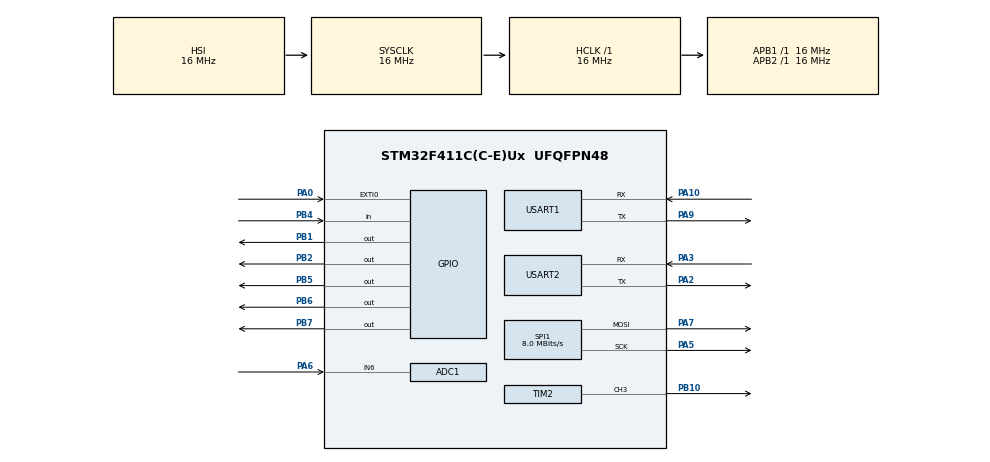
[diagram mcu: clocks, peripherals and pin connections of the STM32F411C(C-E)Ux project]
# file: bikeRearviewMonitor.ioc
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ADC1.Channel-0\#ChannelRegularConversion=ADC_CHANNEL_6
ADC1.ContinuousConvMode=ENABLE
ADC1.NbrOfConversionFlag=1
ADC1.Rank-0\#ChannelRegularConversion=1
ADC1.Resolution=ADC_RESOLUTION_8B
ADC1.SamplingTime-0\#ChannelRegularConversion=ADC_SAMPLETIME_3CYCLES
ADC1.master=1
Mcu.Family=STM32F4
Mcu.Name=STM32F411C(C-E)Ux
Mcu.Package=UFQFPN48
NVIC.EXTI0_IRQn=true\:1\:0\:true\:false\:true\:true\:true
NVIC.PriorityGroup=NVIC_PRIORITYGROUP_4
NVIC.USART2_IRQn=true\:0\:0\:false\:false\:true\:true\:true
PA0-WKUP.GPIO_ModeDefaultEXTI=GPIO_MODE_IT_FALLING
PA0-WKUP.Signal=GPXTI0
PA10.Mode=Asynchronous
PA10.Signal=USART1_RX
PA2.Mode=Asynchronous
PA2.Signal=USART2_TX
PA3.Mode=Asynchronous
PA3.Signal=USART2_RX
PA5.Mode=TX_Only_Simplex_Unidirect_Master
PA5.Signal=SPI1_SCK
PA6.Signal=ADCx_IN6
PA7.Mode=TX_Only_Simplex_Unidirect_Master
PA7.Signal=SPI1_MOSI
PA9.Mode=Asynchronous
PA9.Signal=USART1_TX
PB1.GPIO_PuPd=GPIO_PULLUP
PB1.Signal=GPIO_Output
PB10.Signal=S_TIM2_CH3
PB2.GPIO_PuPd=GPIO_PULLUP
PB2.Signal=GPIO_Output
PB4.Signal=GPIO_Input
PB5.Signal=GPIO_Output
PB6.Signal=GPIO_Output
PB7.Signal=GPIO_Output
ProjectManager.HeapSize=0x200
ProjectManager.StackSize=0x400
ProjectManager.TargetToolchain=STM32CubeIDE
RCC.AHBFreq_Value=16000000
RCC.APB1Freq_Value=16000000
RCC.APB2Freq_Value=16000000
RCC.CortexFreq_Value=16000000
RCC.HSE_VALUE=25000000
RCC.HSI_VALUE=16000000
RCC.LSE_VALUE=32768
RCC.SYSCLKFreq_VALUE=16000000
RCC.VCOOutputFreq_Value=192000000
SH.ADCx_IN6.0=ADC1_IN6,IN6
SH.S_TIM2_CH3.0=TIM2_CH3,PWM Generation3 CH3
SPI1.BaudRatePrescaler=SPI_BAUDRATEPRESCALER_2
SPI1.CalculateBaudRate=8.0 MBits/s
SPI1.Direction=SPI_DIRECTION_2LINES
SPI1.Mode=SPI_MODE_MASTER
SPI1.VirtualType=VM_MASTER
TIM2.AutoReloadPreload=TIM_AUTORELOAD_PRELOAD_ENABLE
TIM2.Channel-PWM\ Generation3\ CH3=TIM_CHANNEL_3
TIM2.Period=100-1
TIM2.Prescaler=160-1
USART1.VirtualMode=VM_ASYNC
USART2.VirtualMode=VM_ASYNC
VP_TIM2_VS_ClockSourceINT.Mode=Internal
board=custom

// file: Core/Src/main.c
/* USER CODE BEGIN Header */
/**
  ******************************************************************************
  * @file           : main.c
  * @brief          : Main program body
  ******************************************************************************
  * @attention
  *
  * <h2><center>&copy; Copyright (c) 2022 STMicroelectronics.
  * All rights reserved.</center></h2>
  *
  * This software component is licensed by ST under BSD 3-Clause license,
  * the "License"; You may not use this file except in compliance with the
  * License. You may obtain a copy of the License at:
  *                        opensource.org/licenses/BSD-3-Clause
  *
  ******************************************************************************
  */
/* USER CODE END Header */
#include "main.h"

/* USER CODE BEGIN Includes */
#include <stdio.h>
#include "decoder.h"
#include "bleinit.h"
#include "battery.h"
#include "TFT_control.h"
/* USER CODE END Includes */

ADC_HandleTypeDef hadc1;

SPI_HandleTypeDef hspi1;

TIM_HandleTypeDef htim2;

UART_HandleTypeDef huart1;
UART_HandleTypeDef huart2;

/* USER CODE BEGIN PV */

extern int BLE_state;

/* USER CODE END PV */

void SystemClock_Config(void);
static void MX_GPIO_Init(void);
static void MX_USART1_UART_Init(void);
static void MX_USART2_UART_Init(void);
static void MX_ADC1_Init(void);
static void MX_TIM2_Init(void);
static void MX_SPI1_Init(void);

/* USER CODE BEGIN 0 */

// Serial output for Debug @ HUART1
#ifdef __GNUC__
#define PUTCHAR_PROTOTYPE int __io_putchar(int ch)
#else
#define PUTCHAR_PROTOTYPE int fputc(int ch, FILE *f)
#endif

char strtmp[30];

PUTCHAR_PROTOTYPE {
	HAL_UART_Transmit((UART_HandleTypeDef *)&huart1, (uint8_t*)&ch, 1, 0xFFFF);
	return ch;
}

unsigned char UART2RxBuf[1024] = {0};
unsigned char UART2RxFlg       = 0;
unsigned int  UART2RxCnt       = 0;
unsigned char UART2Rxtmp[1]    = {0};
unsigned char UART2RxUklRdFlg  = 0;

void HAL_UART_RxCpltCallback(UART_HandleTypeDef *huart) {
	if ((huart->Instance == USART2) && UART2RxUklRdFlg) {
		if (!(UART2Rxtmp[0]^0x0A) || !(UART2Rxtmp[0]^0x0D)) {
			if (UART2RxCnt) {UART2RxFlg = 1;} return;
		} if (UART2RxCnt < 1024) UART2RxBuf[UART2RxCnt ++] = UART2Rxtmp[0];
		else {UART2RxFlg = 1; printf("[UART2IT] buffer overflow\r\n"); return;}
		HAL_UART_Receive_IT(&huart2, (uint8_t *)UART2Rxtmp, 1);
	}
}

void HAL_GPIO_EXTI_Callback(uint16_t GPIO_Pin) {
//	if(GPIO_Pin == GPIO_PIN_0) {
//		if (!HAL_GPIO_ReadPin(GPIOA, GPIO_PIN_0)) {
//			HAL_Delay(20);
//			if (!HAL_GPIO_ReadPin(GPIOA, GPIO_PIN_0)) {
//				Cnange_TFT_Backlight();
//				while (!HAL_GPIO_ReadPin(GPIOA, GPIO_PIN_0));
//			}
//		}
//	}
}

void UART2_Clear() {
	for (int i=0; i < UART2RxCnt; ++ i) UART2RxBuf[i] = 0;
	UART2RxFlg = UART2RxCnt = UART2RxUklRdFlg = 0;
}

#define UART2RxUklRd(); {UART2RxUklRdFlg = 1; HAL_UART_Receive_IT(&huart2, (uint8_t *)UART2Rxtmp, 1);}
#define TIME_TO_PRINT ((int)HAL_GetTick())

//#define TFTPWMTEST

//void UART2RxUklRd() {
//	UART2RxUklRdFlg = 1;
//	HAL_UART_Receive_IT(&huart2, (uint8_t *)UART2Rxtmp, 1);
//}

/* USER CODE END 0 */

int main(void)
{

  /* MCU Configuration--------------------------------------------------------*/

  /* Reset of all peripherals, Initializes the Flash interface and the Systick. */
  HAL_Init();

  /* Configure the system clock */
  SystemClock_Config();

  /* Initialize all configured peripherals */
  MX_GPIO_Init();
  MX_USART1_UART_Init();
  MX_USART2_UART_Init();
  MX_ADC1_Init();
  MX_TIM2_Init();
  MX_SPI1_Init();
  /* USER CODE BEGIN 2 */

  UART2RxUklRdFlg = 0;
  ADC_Calibration();
  //TFT_ReStart();
  TFT_INIT();

  /* USER CODE END 2 */

  /* Infinite loop */
  /* USER CODE BEGIN WHILE */

  HAL_TIM_PWM_Start(&htim2, TIM_CHANNEL_3);
  Set_TFT_Backlight_PWM(100);

  Read_Battery_Life();
  printf("[%d]%s\r\n", TIME_TO_PRINT, UART2RxBuf);

  while (BLE_state^ALL_GREEN) BLE_INIT();
  printf("[BLEINIT] SUCCESS.\r\n");

  HAL_GPIO_WritePin(GPIOB, GPIO_PIN_2, GPIO_PIN_SET);
  HAL_GPIO_WritePin(GPIOB, GPIO_PIN_1, GPIO_PIN_SET);

#ifdef TFTPWMTEST
  int PWM_TEST_STA = 0;
  int PWM_UP_OR_DN = 1;
  int PWM_UP_CNTER = 0;
#endif

  Draw_Circle(190, 300, 30, GBLUE);
  sprintf(strtmp, "%d", 11);
  LCD_ShowString(190-6, 300-6, (const u8*) strtmp, WHITE, WHITE, 12, 1);

  Draw_Circle(263, 299, 30, GBLUE);
  sprintf(strtmp, "%d", 11);
  LCD_ShowString(263-6, 300-6, (const u8*) strtmp, WHITE, WHITE, 12, 1);

  //UART2RxUklRd();
  while (1)
  {

	  if (HAL_GPIO_ReadPin(GPIOB, GPIO_PIN_4) == 0) {
		  TFT_INIT(); LCD_Fill(0,0,LCD_W,LCD_H,BLACK);
	  }

#ifdef TFTPWMTEST
	  if (++ PWM_UP_CNTER >= 10) {
		  switch(PWM_UP_OR_DN) {
		  case 1:
			  if (PWM_TEST_STA < 100) Set_TFT_Backlight_PWM((uint8_t)PWM_TEST_STA ++);
			  else PWM_UP_OR_DN = 0;
			  break;
		  case 0:
			  if (PWM_TEST_STA) Set_TFT_Backlight_PWM((uint8_t)PWM_TEST_STA --);
			  else PWM_UP_OR_DN = 1;
			  break;
		  default:
			  break;
		  } PWM_UP_CNTER = 0;
	  } HAL_Delay(0);
	  //printf("[PWMTEST] PWM: %d\r\n", PWM_TEST_STA);
#endif

	  UART2RxUklRd();
	  //TFT_DrawRect(50, 100, 50, 100, 0x001F);
	  if (UART2RxFlg) {
		  printf("[%d]%s\r\n", TIME_TO_PRINT, UART2RxBuf);
		  dispose(UART2RxBuf);
		  decoderDebugOutput();
		  situDraw();
		  UART2_Clear();
		  //Read_Battery_Life();
	  }

	  // PWM test

    /* USER CODE END WHILE */

  }
}

void SystemClock_Config(void)
{
  RCC_OscInitTypeDef RCC_OscInitStruct = {0};
  RCC_ClkInitTypeDef RCC_ClkInitStruct = {0};

  /** Configure the main internal regulator output voltage
  */
  __HAL_RCC_PWR_CLK_ENABLE();
  __HAL_PWR_VOLTAGESCALING_CONFIG(PWR_REGULATOR_VOLTAGE_SCALE1);
  /** Initializes the RCC Oscillators according to the specified parameters
  * in the RCC_OscInitTypeDef structure.
  */
  RCC_OscInitStruct.OscillatorType = RCC_OSCILLATORTYPE_HSI;
  RCC_OscInitStruct.HSIState = RCC_HSI_ON;
  RCC_OscInitStruct.HSICalibrationValue = RCC_HSICALIBRATION_DEFAULT;
  RCC_OscInitStruct.PLL.PLLState = RCC_PLL_NONE;
  if (HAL_RCC_OscConfig(&RCC_OscInitStruct) != HAL_OK)
  {
    Error_Handler();
  }
  /** Initializes the CPU, AHB and APB buses clocks
  */
  RCC_ClkInitStruct.ClockType = RCC_CLOCKTYPE_HCLK|RCC_CLOCKTYPE_SYSCLK
                              |RCC_CLOCKTYPE_PCLK1|RCC_CLOCKTYPE_PCLK2;
  RCC_ClkInitStruct.SYSCLKSource = RCC_SYSCLKSOURCE_HSI;
  RCC_ClkInitStruct.AHBCLKDivider = RCC_SYSCLK_DIV1;
  RCC_ClkInitStruct.APB1CLKDivider = RCC_HCLK_DIV1;
  RCC_ClkInitStruct.APB2CLKDivider = RCC_HCLK_DIV1;

  if (HAL_RCC_ClockConfig(&RCC_ClkInitStruct, FLASH_LATENCY_0) != HAL_OK)
  {
    Error_Handler();
  }
}

static void MX_ADC1_Init(void)
{

  ADC_ChannelConfTypeDef sConfig = {0};

  /** Configure the global features of the ADC (Clock, Resolution, Data Alignment and number of conversion)
  */
  hadc1.Instance = ADC1;
  hadc1.Init.ClockPrescaler = ADC_CLOCK_SYNC_PCLK_DIV2;
  hadc1.Init.Resolution = ADC_RESOLUTION_8B;
  hadc1.Init.ScanConvMode = DISABLE;
  hadc1.Init.ContinuousConvMode = ENABLE;
  hadc1.Init.DiscontinuousConvMode = DISABLE;
  hadc1.Init.ExternalTrigConvEdge = ADC_EXTERNALTRIGCONVEDGE_NONE;
  hadc1.Init.ExternalTrigConv = ADC_SOFTWARE_START;
  hadc1.Init.DataAlign = ADC_DATAALIGN_RIGHT;
  hadc1.Init.NbrOfConversion = 1;
  hadc1.Init.DMAContinuousRequests = DISABLE;
  hadc1.Init.EOCSelection = ADC_EOC_SINGLE_CONV;
  if (HAL_ADC_Init(&hadc1) != HAL_OK)
  {
    Error_Handler();
  }
  /** Configure for the selected ADC regular channel its corresponding rank in the sequencer and its sample time.
  */
  sConfig.Channel = ADC_CHANNEL_6;
  sConfig.Rank = 1;
  sConfig.SamplingTime = ADC_SAMPLETIME_3CYCLES;
  if (HAL_ADC_ConfigChannel(&hadc1, &sConfig) != HAL_OK)
  {
    Error_Handler();
  }

}

static void MX_SPI1_Init(void)
{

  /* SPI1 parameter configuration*/
  hspi1.Instance = SPI1;
  hspi1.Init.Mode = SPI_MODE_MASTER;
  hspi1.Init.Direction = SPI_DIRECTION_2LINES;
  hspi1.Init.DataSize = SPI_DATASIZE_8BIT;
  hspi1.Init.CLKPolarity = SPI_POLARITY_LOW;
  hspi1.Init.CLKPhase = SPI_PHASE_1EDGE;
  hspi1.Init.NSS = SPI_NSS_SOFT;
  hspi1.Init.BaudRatePrescaler = SPI_BAUDRATEPRESCALER_2;
  hspi1.Init.FirstBit = SPI_FIRSTBIT_MSB;
  hspi1.Init.TIMode = SPI_TIMODE_DISABLE;
  hspi1.Init.CRCCalculation = SPI_CRCCALCULATION_DISABLE;
  hspi1.Init.CRCPolynomial = 10;
  if (HAL_SPI_Init(&hspi1) != HAL_OK)
  {
    Error_Handler();
  }

}

static void MX_TIM2_Init(void)
{

  TIM_ClockConfigTypeDef sClockSourceConfig = {0};
  TIM_MasterConfigTypeDef sMasterConfig = {0};
  TIM_OC_InitTypeDef sConfigOC = {0};

  htim2.Instance = TIM2;
  htim2.Init.Prescaler = 160-1;
  htim2.Init.CounterMode = TIM_COUNTERMODE_UP;
  htim2.Init.Period = 100-1;
  htim2.Init.ClockDivision = TIM_CLOCKDIVISION_DIV1;
  htim2.Init.AutoReloadPreload = TIM_AUTORELOAD_PRELOAD_ENABLE;
  if (HAL_TIM_Base_Init(&htim2) != HAL_OK)
  {
    Error_Handler();
  }
  sClockSourceConfig.ClockSource = TIM_CLOCKSOURCE_INTERNAL;
  if (HAL_TIM_ConfigClockSource(&htim2, &sClockSourceConfig) != HAL_OK)
  {
    Error_Handler();
  }
  if (HAL_TIM_PWM_Init(&htim2) != HAL_OK)
  {
    Error_Handler();
  }
  sMasterConfig.MasterOutputTrigger = TIM_TRGO_RESET;
  sMasterConfig.MasterSlaveMode = TIM_MASTERSLAVEMODE_DISABLE;
  if (HAL_TIMEx_MasterConfigSynchronization(&htim2, &sMasterConfig) != HAL_OK)
  {
    Error_Handler();
  }
  sConfigOC.OCMode = TIM_OCMODE_PWM1;
  sConfigOC.Pulse = 0;
  sConfigOC.OCPolarity = TIM_OCPOLARITY_HIGH;
  sConfigOC.OCFastMode = TIM_OCFAST_DISABLE;
  if (HAL_TIM_PWM_ConfigChannel(&htim2, &sConfigOC, TIM_CHANNEL_3) != HAL_OK)
  {
    Error_Handler();
  }
  HAL_TIM_MspPostInit(&htim2);

}

static void MX_USART1_UART_Init(void)
{

  huart1.Instance = USART1;
  huart1.Init.BaudRate = 115200;
  huart1.Init.WordLength = UART_WORDLENGTH_8B;
  huart1.Init.StopBits = UART_STOPBITS_1;
  huart1.Init.Parity = UART_PARITY_NONE;
  huart1.Init.Mode = UART_MODE_TX_RX;
  huart1.Init.HwFlowCtl = UART_HWCONTROL_NONE;
  huart1.Init.OverSampling = UART_OVERSAMPLING_16;
  if (HAL_UART_Init(&huart1) != HAL_OK)
  {
    Error_Handler();
  }
  /* USER CODE BEGIN USART1_Init 2 */

  printf("USART1 INIT succ.\r\n");

  /* USER CODE END USART1_Init 2 */

}

static void MX_USART2_UART_Init(void)
{

  huart2.Instance = USART2;
  huart2.Init.BaudRate = 115200;
  huart2.Init.WordLength = UART_WORDLENGTH_8B;
  huart2.Init.StopBits = UART_STOPBITS_1;
  huart2.Init.Parity = UART_PARITY_NONE;
  huart2.Init.Mode = UART_MODE_TX_RX;
  huart2.Init.HwFlowCtl = UART_HWCONTROL_NONE;
  huart2.Init.OverSampling = UART_OVERSAMPLING_16;
  if (HAL_UART_Init(&huart2) != HAL_OK)
  {
    Error_Handler();
  }

}

static void MX_GPIO_Init(void)
{
  GPIO_InitTypeDef GPIO_InitStruct = {0};

  /* GPIO Ports Clock Enable */
  __HAL_RCC_GPIOA_CLK_ENABLE();
  __HAL_RCC_GPIOB_CLK_ENABLE();

  /*Configure GPIO pin Output Level */
  HAL_GPIO_WritePin(GPIOB, GPIO_PIN_1|GPIO_PIN_2|GPIO_PIN_5|GPIO_PIN_6
                          |GPIO_PIN_7, GPIO_PIN_RESET);

  /*Configure GPIO pin : PA0 */
  GPIO_InitStruct.Pin = GPIO_PIN_0;
  GPIO_InitStruct.Mode = GPIO_MODE_IT_FALLING;
  GPIO_InitStruct.Pull = GPIO_NOPULL;
  HAL_GPIO_Init(GPIOA, &GPIO_InitStruct);

  /*Configure GPIO pins : PB1 PB2 */
  GPIO_InitStruct.Pin = GPIO_PIN_1|GPIO_PIN_2;
  GPIO_InitStruct.Mode = GPIO_MODE_OUTPUT_PP;
  GPIO_InitStruct.Pull = GPIO_PULLUP;
  GPIO_InitStruct.Speed = GPIO_SPEED_FREQ_LOW;
  HAL_GPIO_Init(GPIOB, &GPIO_InitStruct);

  /*Configure GPIO pin : PB4 */
  GPIO_InitStruct.Pin = GPIO_PIN_4;
  GPIO_InitStruct.Mode = GPIO_MODE_INPUT;
  GPIO_InitStruct.Pull = GPIO_NOPULL;
  HAL_GPIO_Init(GPIOB, &GPIO_InitStruct);

  /*Configure GPIO pins : PB5 PB6 PB7 */
  GPIO_InitStruct.Pin = GPIO_PIN_5|GPIO_PIN_6|GPIO_PIN_7;
  GPIO_InitStruct.Mode = GPIO_MODE_OUTPUT_PP;
  GPIO_InitStruct.Pull = GPIO_NOPULL;
  GPIO_InitStruct.Speed = GPIO_SPEED_FREQ_LOW;
  HAL_GPIO_Init(GPIOB, &GPIO_InitStruct);

  /* EXTI interrupt init*/
  HAL_NVIC_SetPriority(EXTI0_IRQn, 1, 0);
  HAL_NVIC_EnableIRQ(EXTI0_IRQn);

}

void Error_Handler(void)
{
  __disable_irq();
  while (1)
  {
  }
}

/************************ (C) COPYRIGHT STMicroelectronics *****END OF FILE****/
